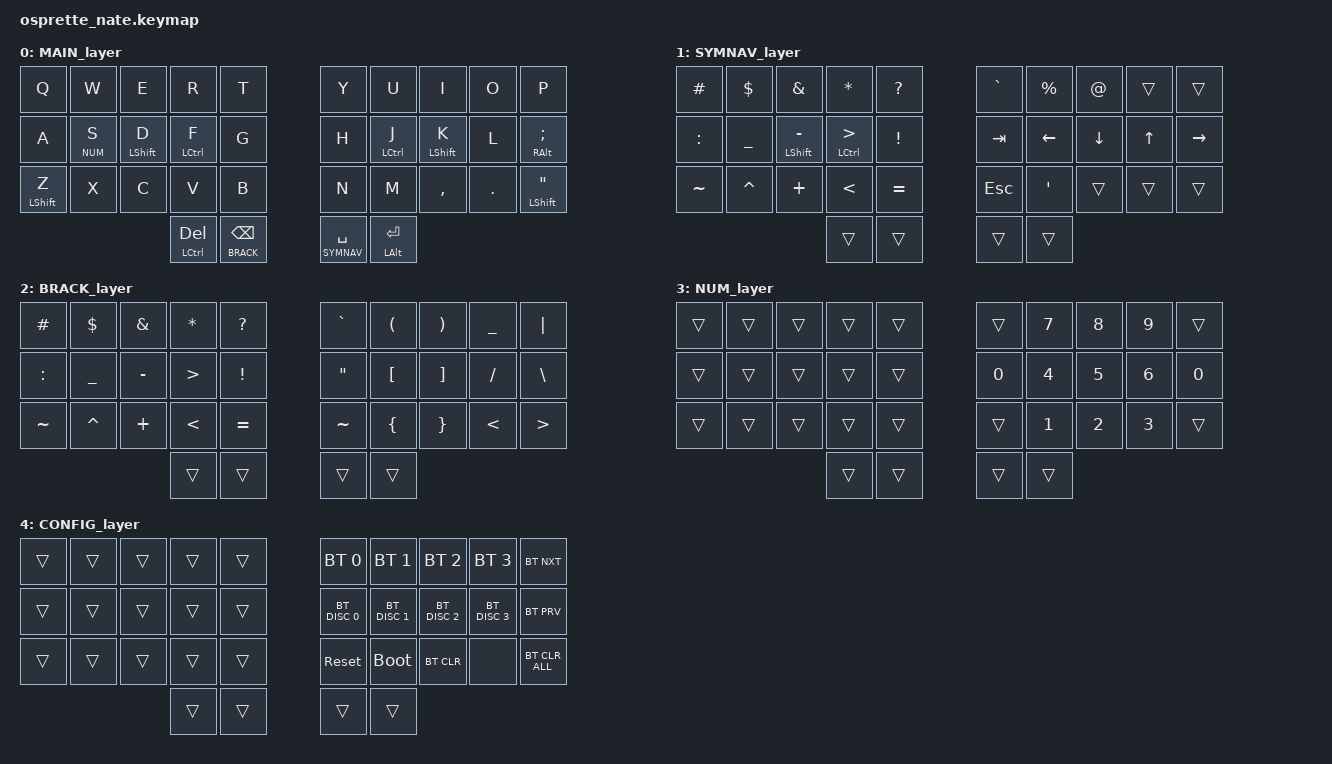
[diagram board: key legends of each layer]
/*
* Copyright (c) 2021 The ZMK Contributors
*
* SPDX-License-Identifier: MIT
*/

#include <behaviors.dtsi>
#include <dt-bindings/zmk/keys.h>
#include <dt-bindings/zmk/bt.h>

#define MAIN 0
#define SYMNAV 1
#define BRACK 2
#define NUM 3
#define CONFIG 4

&mt {
    flavor = "tap-preferred";
    tapping_term_ms = <140>;
};

/ {
    combos {
        compatible = "zmk,combos";

//Left pinky
        combo_esc {
            timeout-ms = <100>;
            key-positions = <10 20>;
            bindings = <&kp TAB>;
        };
// left middle 
        combo_grave {
            timeout-ms = <100>;
            key-positions = <2 12>;
            bindings = <&kp DOT>;
        };
// left index 
        combo_dash {
            timeout-ms = <100>;
            key-positions = <3 13>;
            bindings = <&kp MINUS>;
        };
// left 5 col
        combo_under {
            timeout-ms = <100>;
            key-positions = <4 14>;
            bindings = <&kp UNDERSCORE>;
        };


// Right 0 col
        combo_dot {
            timeout-ms = <100>;
            key-positions = <5 15>;
            bindings = <&kp DOT>;
        };

// Right index
        combo_tab {
            timeout-ms = <100>;
            key-positions = <6 16>;
            bindings = <&kp TAB>;
        };
// Right Middle
        combo_semi {
            timeout-ms = <100>;
            key-positions = <7 17>;
            bindings = <&kp SEMI>;
        };

// left top index middle
        combo_divide {
            timeout-ms = <100>;
            key-positions = <2 3>;
            bindings = <&kp SLASH>;
        };

// Right top index middle
        combo_equal {
            timeout-ms = <100>;
            key-positions = <6 7>;
            bindings = <&kp EQUAL>;
        };
    };
    behaviors {
        hm: homerow_mods {
            compatible = "zmk,behavior-hold-tap";
            label = "HOMEROW_MODS";
            #binding-cells = <2>;
            tapping-term-ms = <150>;
            quick-tap-ms = <0>;
            flavor = "tap-preferred";
            bindings = <&kp>, <&kp>;
        };
    };
    conditional_layers {
        compatible = "zmk,conditional-layers";
        tri_layer {
            if-layers = <BRACK SYMNAV>;
            then-layer = <CONFIG>;
            };
        };

    keymap {
        compatible = "zmk,keymap";

MAIN_layer {
// ------------------------------------
// | Q       | W      | E        | R       | T |      | Y | U       | I | O | P       |
// | CTRL(A) | NUM(S) | BRACK(D) | NAV1(F) | G |      | H | NAV2(J) | K | L | ALT(;)  |
// | SHFT(Z) | X      | C        | V       | B |      | N | M       | , | . | SHFT(") |
//                               |         |   |      |   |         |   |

    bindings = <
        &kp Q   &kp W      &kp E        &kp R          &kp T                                &kp Y  &kp U        &kp I        &kp O      &kp P
       &kp A        &lt NUM S  &hm LSHFT D  &hm LCTRL F    &kp G                 &kp H  &hm LCTRL J  &hm LSHFT K  &kp L    &hm RALT SEMI 
     &mt LSHFT Z  &kp X      &kp C        &kp V          &kp B                 &kp N  &kp M        &kp COMMA    &kp DOT  &mt LSHFT DQT
                                        &mt LCTRL DEL  &lt BRACK BSPC       &lt SYMNAV SPACE  &mt LALT RET
                        >;
    };

SYMNAV_layer {
// ------------------------------------
// | # | $ | & | * | ? |      | `   |  %  | @  |    |     |
// | : | _ | - | > | ! |      | TAB | LFT | DN | UP | RGT |
// | ~ | ^ | + | < | = |      | ESC | '   | ,  | .  |     |
//             |   |   |      |     |     |
bindings = <
     &kp HASH   &kp DLLR   &kp AMPS         &kp STAR      &kp QMARK     &kp GRAVE  &kp PRCNT  &kp AT    &trans   &trans
     &kp COLON  &kp UNDER  &hm LSHFT MINUS  &hm LCTRL GT  &kp EXCL      &kp TAB    &kp LEFT   &kp DOWN  &kp UP  &kp RIGHT 
    &kp TILDE  &kp CARET  &kp PLUS         &kp LT        &kp EQUAL     &kp ESC    &kp APOS   &trans    &trans  &trans 
                                            &trans     &trans        &trans     &trans
>;
};

BRACK_layer {
// ------------------------------------
//  | # | $ | & | * | ? |      | ` | ( | ) | " | | |
//  | : | _ | - | > | ! |      | " | [ | ] | / | \ |
//  | ~ | ^ | + | < | = |      | ~ | { | } | < | > |
//              |   |   |      |   |   |
bindings = <
   &kp HASH  &kp DLLR   &kp AMPS   &kp STAR  &kp QMARK     &kp GRAVE  &kp LPAR  &kp RPAR  &kp UNDER   &kp PIPE
   &kp COLON  &kp UNDER  &kp MINUS  &kp GT     &kp EXCL      &kp DQT    &kp LBKT  &kp RBKT  &kp FSLH   &kp BSLH 
   &kp TILDE  &kp CARET  &kp PLUS   &kp LT     &kp EQUAL     &kp TILDE  &kp LBRC  &kp RBRC  &kp LT     &kp GT 
                                    &trans     &trans        &trans     &trans
>;
};

NUM_layer {
// ------------------------------------
// | | | | | |      |   | 7 | 8 | 9 |   |
// | | | | | |      | 0 | 4 | 5 | 6 | 0 |
// | | | | | |      |   | 1 | 2 | 3 |   |
//       | | |      |   |   |
bindings = <
 &trans  &trans &trans &trans &trans     &trans  &kp N7  &kp N8  &kp N9    &trans
 &trans &trans &trans &trans &trans     &kp N0  &kp N4  &kp N5  &kp N6  &kp N0 
&trans &trans &trans &trans &trans     &trans  &kp N1  &kp N2  &kp N3  &trans 
                        &trans &trans     &trans   &trans
>;
};

CONFIG_layer {
// ------------------------------------
// | | | | | |      |   | 7 | 8 | 9 |   |
// | | | | | |      | 0 | 4 | 5 | 6 | 0 |
// | | | | | |      |   | 1 | 2 | 3 |   |
//       | | |      |   |   |
bindings = <
 &trans  &trans &trans &trans &trans     &bt BT_SEL 0 &bt BT_SEL 1 &bt BT_SEL 2  &bt BT_SEL 3 &bt BT_NXT
 &trans &trans &trans &trans &trans     &bt BT_DISC 0 &bt BT_DISC 1 &bt BT_DISC 2  &bt BT_DISC 3  &bt BT_PRV
&trans &trans &trans &trans &trans     &sys_reset  &bootloader &bt BT_CLR  &none  &bt BT_CLR_ALL 
                        &trans &trans     &trans   &trans
>;
};

};
};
